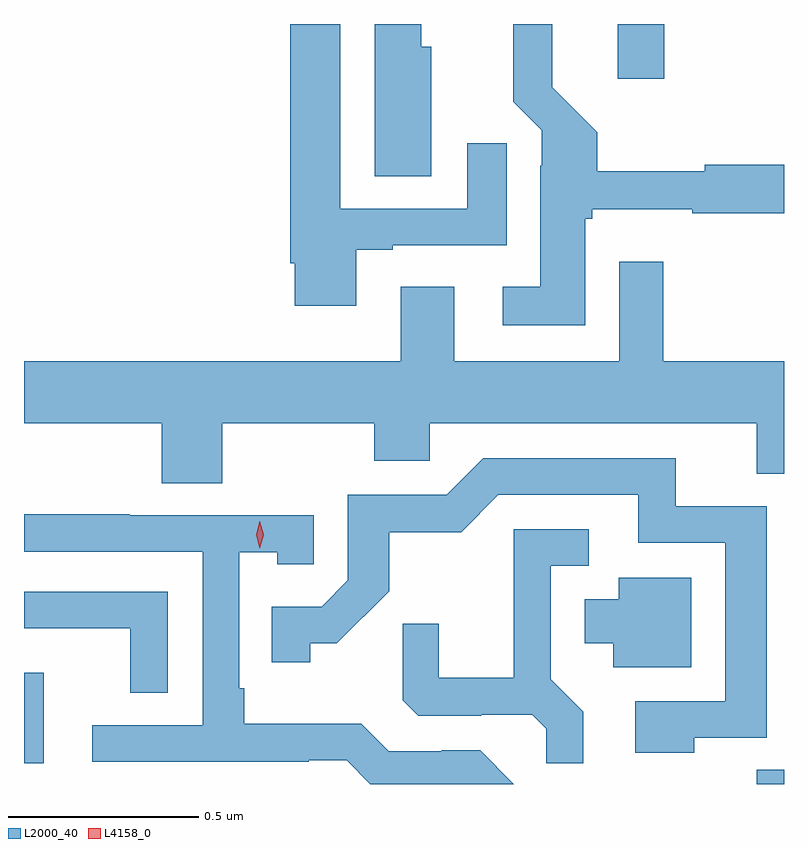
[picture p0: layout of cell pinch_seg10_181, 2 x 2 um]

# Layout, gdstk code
import gdstk
lib = gdstk.Library(unit=1e-6, precision=1e-09)
def R(c, l, rs):  # rectangles x0, y0, x1, y1
    for r in rs: c.add(gdstk.rectangle(r[:2], r[2:], *l))
def P(c, l, *ps):  # polygons
    for p in ps: c.add(gdstk.Polygon(p, *l))
L2000_40 = (2000, 40)
L4158_0 = (4158, 0)

pinch_seg10_181 = lib.new_cell('pinch_seg10_181')
R(pinch_seg10_181, L2000_40, [(684.293,1258.075,684.365,1258.112), (682.365,1258.129,682.417,1258.368), (683.927,1259.931,684.05,1260.075)])
P(pinch_seg10_181, L2000_40, [(683.239,1259.481),(683.335,1259.481),(683.335,1259.493),(683.635,1259.493),(683.635,1259.761),(683.531,1259.761),(683.531,1259.589),(683.197,1259.589),(683.197,1260.075),(683.066,1260.075),(683.066,1259.446),(683.078,1259.446),(683.078,1259.334),(683.239,1259.334)],
  [(683.842,1259.562),(683.86,1259.562),(683.86,1259.588),(684.124,1259.588),(684.124,1259.577),(684.365,1259.577),(684.365,1259.705),(684.156,1259.705),(684.156,1259.688),(683.873,1259.688),(683.873,1259.79),(683.755,1259.908),(683.755,1260.075),(683.653,1260.075),(683.653,1259.87),(683.727,1259.796),(683.727,1259.702),(683.723,1259.702),(683.723,1259.383),(683.625,1259.383),(683.625,1259.282),(683.842,1259.282)],
  [(683.437,1260.015),(683.41,1260.015),(683.41,1260.075),(683.288,1260.075),(683.288,1259.674),(683.437,1259.674)],
  [(682.887,1259.024),(683.287,1259.024),(683.287,1258.926),(683.433,1258.926),(683.433,1259.024),(684.293,1259.024),(684.293,1258.891),(684.365,1258.891),(684.365,1259.188),(684.047,1259.188),(684.047,1259.449),(683.931,1259.449),(683.931,1259.188),(683.497,1259.188),(683.497,1259.383),(683.357,1259.383),(683.357,1259.188),(682.365,1259.188),(682.365,1259.024),(682.727,1259.024),(682.727,1258.867),(682.887,1258.867)],
  [(684.129,1258.197),(684.319,1258.197),(684.319,1258.806),(684.08,1258.806),(684.08,1258.932),(683.574,1258.932),(683.478,1258.836),(683.217,1258.836),(683.217,1258.611),(683.148,1258.542),(683.017,1258.542),(683.017,1258.395),(683.118,1258.395),(683.118,1258.445),(683.188,1258.445),(683.326,1258.582),(683.326,1258.738),(683.515,1258.738),(683.613,1258.836),(683.981,1258.836),(683.981,1258.71),(684.21,1258.71),(684.21,1258.293),(683.973,1258.293),(683.973,1258.157),(684.129,1258.157)],
  [(683.565,1258.164),(683.464,1258.164),(683.464,1258.161),(683.325,1258.161),(683.252,1258.234),(682.945,1258.234),(682.945,1258.327),(682.932,1258.327),(682.932,1258.685),(683.031,1258.685),(683.031,1258.653),(683.127,1258.653),(683.127,1258.782),(682.643,1258.782),(682.643,1258.785),(682.365,1258.785),(682.365,1258.686),(682.836,1258.686),(682.836,1258.23),(682.545,1258.23),(682.545,1258.134),(683.114,1258.134),(683.114,1258.137),(683.214,1258.137),(683.276,1258.075),(683.654,1258.075)],
  [(683.837,1258.265),(683.751,1258.351),(683.751,1258.65),(683.851,1258.65),(683.851,1258.746),(683.654,1258.746),(683.654,1258.354),(683.456,1258.354),(683.456,1258.497),(683.362,1258.497),(683.362,1258.295),(683.403,1258.254),(683.568,1258.254),(683.568,1258.257),(683.702,1258.257),(683.739,1258.22),(683.739,1258.129),(683.837,1258.129)],
  [(684.121,1258.618),(683.93,1258.618),(683.93,1258.561),(683.84,1258.561),(683.84,1258.445),(683.915,1258.445),(683.915,1258.382),(684.121,1258.382)],
  [(682.743,1258.581),(682.365,1258.581),(682.365,1258.485),(682.645,1258.485),(682.645,1258.315),(682.743,1258.315)])
P(pinch_seg10_181, L4158_0, [(682.986,1258.695),(682.986,1258.695),(682.976,1258.731),(682.986,1258.766),(682.986,1258.767),(682.986,1258.766),(682.996,1258.731),(682.986,1258.695)])

lib.write_gds('pinch_seg10_181.gds')
